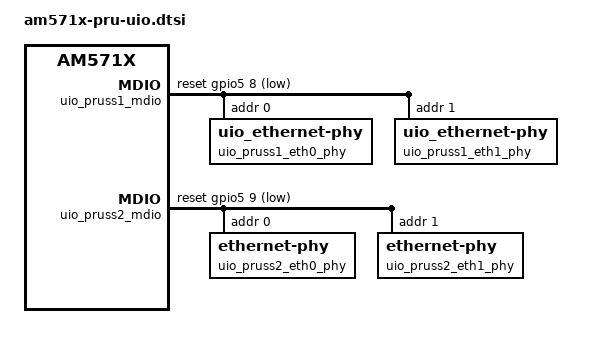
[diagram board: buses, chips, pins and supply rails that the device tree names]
&pruss_soc_bus1 {
                uio_pruss1_mdio {
                        status = "okay";

                        compatible = "ti,davinci_mdio";
                        #address-cells = <1>;
                        #size-cells = <0>;
                        clocks = <&dpll_gmac_h13x2_ck>;
                        clock-names = "fck";
                        bus_freq = <1000000>;
                        reg = <0x4a332400 0x90>;

                        reset-gpios = <&gpio5 8 GPIO_ACTIVE_LOW>;
                        reset-delay-us = <2>;   /* PHY datasheet states 1uS min */
                        uio_pruss1_eth0_phy: uio_ethernet-phy@0 {
                            reg = <0>;
                        };

                        uio_pruss1_eth1_phy: uio_ethernet-phy@1 {
                            reg = <1>;
                         };
                };

		uio_pruss1_mem: uio_pruss1_mem {
			compatible = "ti,uio-module-drv";
			mem = <0x4b200000 0x2000>,
			      <0x4b202000 0x2000>,
			      <0x4b210000 0x8000>,
			      <0x4b220000 0x5404>,
			      <0x4b226000 0x474>,
			      <0x4b22e000 0xc04>,
			      <0x4b232000 0x154>;
			mem-names = "dram0", "dram1", "shrdram2", "intc", "cfg",
				    "iep", "mii_rt";
			status = "okay";
		};
		uio_pruss1_mem2: uio_pruss1_mem2 {
			compatible = "ti,uio-module-drv";
			mem = <0x4b228000 0xd4>,
			      <0x4b230000 0x174>,
			      <0x4b232400 0x234>,
			      <0x40300000 0x40000>;
			mem-names = "uart", "ecap", "mdio", "ocmc";
			status = "okay";
		};
		uio_pruss1_evt0: uio_pruss1_evt0 {
			compatible = "ti,uio-module-drv";
			interrupts = <GIC_SPI 186 IRQ_TYPE_LEVEL_HIGH>;
			interrupt-mode = <1>;
			status = "okay";
		};
		uio_pruss1_evt1: uio_pruss1_evt1 {
			compatible = "ti,uio-module-drv";
			interrupts = <GIC_SPI 187 IRQ_TYPE_LEVEL_HIGH>;
			interrupt-mode = <1>;
			status = "okay";
		};
		uio_pruss1_evt2: uio_pruss1_evt2 {
			compatible = "ti,uio-module-drv";
			interrupts = <GIC_SPI 188 IRQ_TYPE_LEVEL_HIGH>;
			interrupt-mode = <1>;
			status = "okay";
		};
		uio_pruss1_evt3: uio_pruss1_evt3 {
			compatible = "ti,uio-module-drv";
			interrupts = <GIC_SPI 189 IRQ_TYPE_LEVEL_HIGH>;
			interrupt-mode = <1>;
			status = "okay";
		};
		uio_pruss1_evt4: uio_pruss1_evt4 {
			compatible = "ti,uio-module-drv";
			interrupts = <GIC_SPI 190 IRQ_TYPE_LEVEL_HIGH>;
			interrupt-mode = <1>;
			status = "okay";
		};
		uio_pruss1_evt5: uio_pruss1_evt5 {
			compatible = "ti,uio-module-drv";
			interrupts = <GIC_SPI 191 IRQ_TYPE_LEVEL_HIGH>;
			interrupt-mode = <1>;
			status = "okay";
		};
		uio_pruss1_evt6: uio_pruss1_evt6 {
			compatible = "ti,uio-module-drv";
			interrupts = <GIC_SPI 192 IRQ_TYPE_LEVEL_HIGH>;
			interrupt-mode = <1>;
			status = "okay";
		};
		uio_pruss1_evt7: uio_pruss1_evt7 {
			compatible = "ti,uio-module-drv";
			interrupts = <GIC_SPI 193 IRQ_TYPE_LEVEL_HIGH>;
			interrupt-mode = <1>;
			status = "okay";
		};

		uio_pruss1_0_mem: uio_pruss1_0_mem {
			compatible = "ti,uio-module-drv";
			mem = <0x4b234000 0x3000>,
			      <0x4b222000 0xb4>,
			      <0x4b222400 0x3f4>;
			mem-names = "iram", "control", "debug";
			status = "okay";
		};

		uio_pruss1_1_mem: uio_pruss1_1_mem {
			compatible = "ti,uio-module-drv";
			mem = <0x4b238000 0x3000>,
			      <0x4b224000 0xb4>,
			      <0x4b224400 0x3f4>;
			mem-names = "iram", "control", "debug";
			status = "okay";
		};
};

&pruss_soc_bus2 {
                uio_pruss2_mdio {
                        compatible = "ti,davinci_mdio";
                        #address-cells = <1>;
                        #size-cells = <0>;
                        clocks = <&dpll_gmac_h13x2_ck>;
                        clock-names = "fck";
                        bus_freq = <1000000>;
                        reg = <0x4a332400 0x90>;
                        status = "okay";

                        reset-gpios = <&gpio5 9 GPIO_ACTIVE_LOW>;
                        reset-delay-us = <2>;   /* PHY datasheet states 1uS min */

                        uio_pruss2_eth0_phy: ethernet-phy@0 {
                           reg = <0>;
                        };

                        uio_pruss2_eth1_phy: ethernet-phy@1 {
                            reg = <1>;
                         };
                };

		uio_pruss2_mem: uio_pruss2_mem {
			compatible = "ti,uio-module-drv";
			mem = <0x4b280000 0x2000>,
			      <0x4b282000 0x2000>,
			      <0x4b290000 0x8000>,
			      <0x4b2a0000 0x5404>,
			      <0x4b2a6000 0x474>,
			      <0x4b2ae000 0xc04>,
			      <0x4b2b2000 0x154>;
			mem-names = "dram0", "dram1", "shrdram2", "intc", "cfg",
				    "iep", "mii_rt";
			status = "okay";
		};
		uio_pruss2_mem2: uio_pruss2_mem2 {
			compatible = "ti,uio-module-drv";
			mem = <0x4b2a8000 0xd4>,
			      <0x4b2b0000 0x174>,
			      <0x4b2b2400 0x234>,
			      <0x40340000 0x40000>;
			mem-names = "uart", "ecap", "mdio", "ocmc";
			status = "okay";
		};
		uio_pruss2_evt0: uio_pruss2_evt0 {
			compatible = "ti,uio-module-drv";
			interrupts = <GIC_SPI 196 IRQ_TYPE_LEVEL_HIGH>;
			interrupt-mode = <1>;
			status = "okay";
		};
		uio_pruss2_evt1: uio_pruss2_evt1 {
			compatible = "ti,uio-module-drv";
			interrupts = <GIC_SPI 197 IRQ_TYPE_LEVEL_HIGH>;
			interrupt-mode = <1>;
			status = "okay";
		};
		uio_pruss2_evt2: uio_pruss2_evt2 {
			compatible = "ti,uio-module-drv";
			interrupts = <GIC_SPI 198 IRQ_TYPE_LEVEL_HIGH>;
			interrupt-mode = <1>;
			status = "okay";
		};
		uio_pruss2_evt3: uio_pruss2_evt3 {
			compatible = "ti,uio-module-drv";
			interrupts = <GIC_SPI 199 IRQ_TYPE_LEVEL_HIGH>;
			interrupt-mode = <1>;
			status = "okay";
		};
		uio_pruss2_evt4: uio_pruss2_evt4 {
			compatible = "ti,uio-module-drv";
			interrupts = <GIC_SPI 200 IRQ_TYPE_LEVEL_HIGH>;
			interrupt-mode = <1>;
			status = "okay";
		};
		uio_pruss2_evt5: uio_pruss2_evt5 {
			compatible = "ti,uio-module-drv";
			interrupts = <GIC_SPI 201 IRQ_TYPE_LEVEL_HIGH>;
			interrupt-mode = <1>;
			status = "okay";
		};
		uio_pruss2_evt6: uio_pruss2_evt6 {
			compatible = "ti,uio-module-drv";
			interrupts = <GIC_SPI 202 IRQ_TYPE_LEVEL_HIGH>;
			interrupt-mode = <1>;
			status = "okay";
		};
		uio_pruss2_evt7: uio_pruss2_evt7 {
			compatible = "ti,uio-module-drv";
			interrupts = <GIC_SPI 203 IRQ_TYPE_LEVEL_HIGH>;
			interrupt-mode = <1>;
			status = "okay";
		};

		uio_pruss2_0_mem: uio_pruss2_0_mem {
			compatible = "ti,uio-module-drv";
			mem = <0x4b2b4000 0x3000>,
			      <0x4b2a2000 0xb4>,
			      <0x4b2a2400 0x3f4>;
			mem-names = "iram", "control", "debug";
			status = "okay";
		};
		uio_pruss2_1_mem: uio_pruss2_1_mem {
			compatible = "ti,uio-module-drv";
			mem = <0x4b2b8000 0x3000>,
			      <0x4b2a4000 0xb4>,
			      <0x4b2a4400 0x3f4>;
			mem-names = "iram", "control", "debug";
			status = "okay";
		};
	};

&pruss1_eth {
        status = "disabled";
};

&pruss1_emac0 {
        status = "disabled";
};

&pruss1_emac1 {
        status = "disabled";
};

&pruss2_emac0 {
        status = "disabled";
};

&pruss2_emac1 {
        status = "disabled";
};

&pruss1 {
	status = "disabled";
};

&pru1_0 {
        status = "disabled";
};

&pru1_1 {
        status = "disabled";
};

&pruss1_intc {
        status = "disabled";
};

&pruss1_mdio {
        status = "disabled";
};

&pruss2 {
	status = "disabled";
};

&pru2_0 {
        status = "disabled";
};

&pru2_1 {
        status = "disabled";
};

&pruss2_intc {
        status = "disabled";
};

&pruss2_mdio {
        status = "disabled";
};
